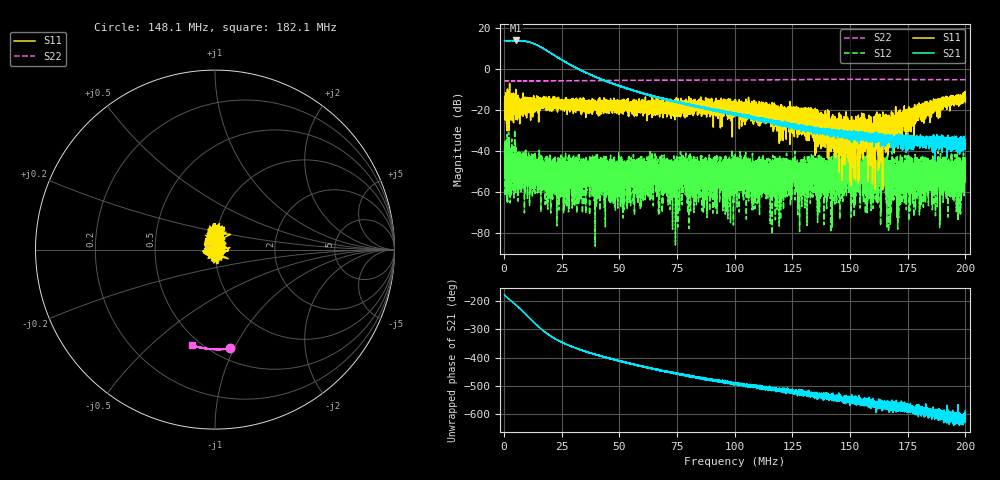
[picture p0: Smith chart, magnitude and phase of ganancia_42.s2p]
# Hz S DB R 50
! CMT, M5065, 19127446, 24.2.4/2
! Date: 11/8/2024 4:09:42 PM
! Data: Format (Calibration Info)
! Freq	S11:dB/Ang(F2)	S21:dB/Ang(F2)	S12:dB/Ang(F2)	S22:dB/Ang(F2)
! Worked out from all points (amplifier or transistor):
!   9000 points, 300 kHz to 200 MHz, reference 50 ohm
!   highest |S21| = 13.9 dB at 5.293 MHz (marker M1)
!   |S21| within 3 dB of that: start of sweep to 15.59 MHz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
!   unconditionally stable (mu >= 1): start of sweep to end of sweep
!   at 33.59 MHz: K = 145.20, MAG = 0.7 dB, |S12| = -51.4 dB
!   at 100.2 MHz: K = 2201.49, MAG = -20.8 dB, |S12| = -53.6 dB
!   at 200 MHz: K = 5855.98, MAG = -35.1 dB, |S12| = -47.9 dB
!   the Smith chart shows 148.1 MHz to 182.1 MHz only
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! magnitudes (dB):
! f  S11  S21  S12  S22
! 300 kHz  -16.6  13.8  -41.6  -5.9
! 5.293 MHz  -13.3  13.9  -50.8  -5.8
! 19.43 MHz  -15.9  8.4  -56.8  -5.8
! 33.59 MHz  -16.8  -0.7  -51.4  -5.7
! 51.52 MHz  -15.6  -8.9  -46.2  -5.6
! 64.99 MHz  -17.3  -13.5  -52.7  -5.5
! 66.87 MHz  -18.8  -14.0  -48.1  -5.5
! 100.2 MHz  -16.9  -22.4  -53.6  -5.4
! 113.8 MHz  -20.5  -25.7  -56.5  -5.3
! 117.6 MHz  -22.4  -25.5  -46.7  -5.3
! 126 MHz  -19.2  -27.5  -53.6  -5.2
! 128.2 MHz  -23.3  -28.0  -46.1  -5.2
! 133.4 MHz  -21.7  -29.1  -46.2  -5.2
! 139.7 MHz  -25.6  -30.4  -55.3  -5.1
! 148.5 MHz  -25.0  -31.1  -46.5  -5.1
! 151.4 MHz  -44.8  -32.2  -50.0  -5.1
! 155.8 MHz  -25.7  -33.3  -49.8  -5.1
! 158.6 MHz  -40.5  -35.4  -53.6  -5.1
! 166.7 MHz  -24.5  -33.7  -52.6  -5.1
! 180.6 MHz  -20.0  -35.0  -61.8  -5.2
! 197.7 MHz  -15.5  -33.6  -49.9  -5.3
! 200 MHz  -16.4  -36.7  -47.9  -5.3
